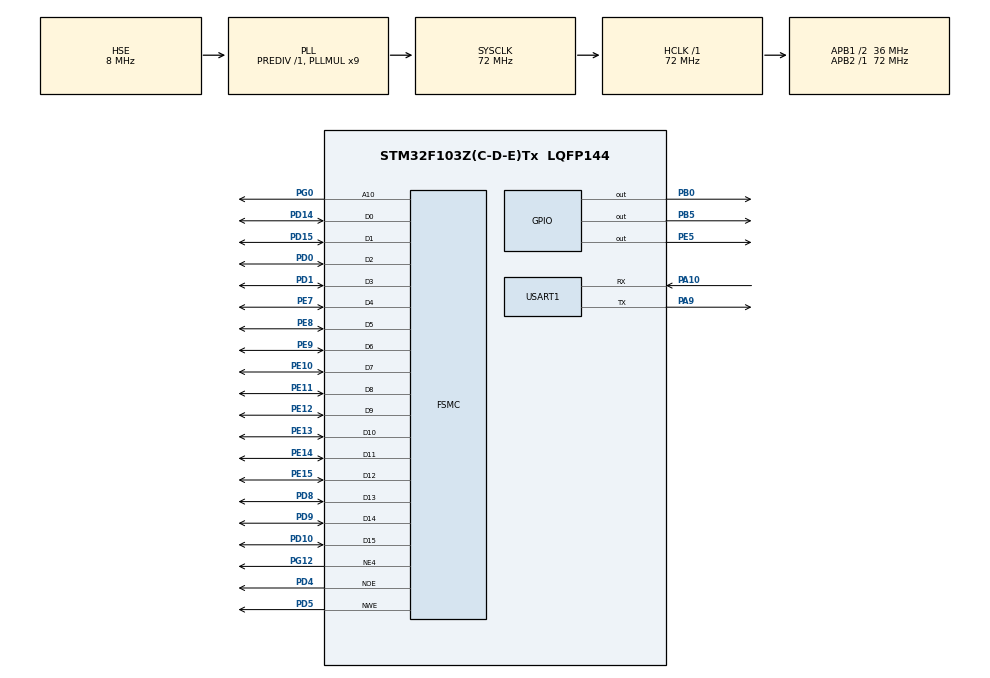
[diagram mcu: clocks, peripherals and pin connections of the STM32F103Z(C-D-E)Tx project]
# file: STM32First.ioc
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FSMC.AddressSetupTime1=0x1
FSMC.BusTurnAroundDuration1=0xf
FSMC.DataSetupTime1=0x1
FSMC.ExtendedAddressSetupTime1=0x0
FSMC.ExtendedBusTurnAroundDuration1=0
FSMC.ExtendedDataSetupTime1=0x03
FSMC.ExtendedMode1=FSMC_EXTENDED_MODE_ENABLE
FSMC.WriteOperation1=FSMC_WRITE_OPERATION_ENABLE
Mcu.Family=STM32F1
Mcu.Name=STM32F103Z(C-D-E)Tx
Mcu.Package=LQFP144
NVIC.PriorityGroup=NVIC_PRIORITYGROUP_4
OSC_IN.Mode=HSE-External-Oscillator
OSC_IN.Signal=RCC_OSC_IN
OSC_OUT.Mode=HSE-External-Oscillator
OSC_OUT.Signal=RCC_OSC_OUT
PA10.Mode=Asynchronous
PA10.Signal=USART1_RX
PA9.Mode=Asynchronous
PA9.Signal=USART1_TX
PB0.Signal=GPIO_Output
PB5.Signal=GPIO_Output
PC14-OSC32_IN.Mode=LSE-External-Oscillator
PC14-OSC32_IN.Signal=RCC_OSC32_IN
PC15-OSC32_OUT.Mode=LSE-External-Oscillator
PC15-OSC32_OUT.Signal=RCC_OSC32_OUT
PD0.Signal=FSMC_D2_DA2
PD1.Signal=FSMC_D3_DA3
PD10.Signal=FSMC_D15_DA15
PD14.Signal=FSMC_D0_DA0
PD15.Signal=FSMC_D1_DA1
PD4.Signal=FSMC_NOE
PD5.Signal=FSMC_NWE
PD8.Signal=FSMC_D13_DA13
PD9.Signal=FSMC_D14_DA14
PE10.Signal=FSMC_D7_DA7
PE11.Signal=FSMC_D8_DA8
PE12.Signal=FSMC_D9_DA9
PE13.Signal=FSMC_D10_DA10
PE14.Signal=FSMC_D11_DA11
PE15.Signal=FSMC_D12_DA12
PE5.Signal=GPIO_Output
PE7.Signal=FSMC_D4_DA4
PE8.Signal=FSMC_D5_DA5
PE9.Signal=FSMC_D6_DA6
PG0.Signal=FSMC_A10
PG12.Mode=NorPsramChipSelect4_1
PG12.Signal=FSMC_NE4
ProjectManager.HeapSize=0x200
ProjectManager.StackSize=0x400
ProjectManager.TargetToolchain=MDK-ARM V5
RCC.AHBFreq_Value=72000000
RCC.APB1CLKDivider=RCC_HCLK_DIV2
RCC.APB1Freq_Value=36000000
RCC.APB1TimFreq_Value=72000000
RCC.APB2Freq_Value=72000000
RCC.APB2TimFreq_Value=72000000
RCC.HCLKFreq_Value=72000000
RCC.PLLMUL=RCC_PLL_MUL9
RCC.PLLSourceVirtual=RCC_PLLSOURCE_HSE
RCC.SYSCLKFreq_VALUE=72000000
RCC.SYSCLKSource=RCC_SYSCLKSOURCE_PLLCLK
RCC.USBFreq_Value=72000000
SH.FSMC_A10.0=FSMC_A10,A10_1
SH.FSMC_D0_DA0.0=FSMC_D0,16b-d1
SH.FSMC_D10_DA10.0=FSMC_D10,16b-d1
SH.FSMC_D11_DA11.0=FSMC_D11,16b-d1
SH.FSMC_D12_DA12.0=FSMC_D12,16b-d1
SH.FSMC_D13_DA13.0=FSMC_D13,16b-d1
SH.FSMC_D14_DA14.0=FSMC_D14,16b-d1
SH.FSMC_D15_DA15.0=FSMC_D15,16b-d1
SH.FSMC_D1_DA1.0=FSMC_D1,16b-d1
SH.FSMC_D2_DA2.0=FSMC_D2,16b-d1
SH.FSMC_D3_DA3.0=FSMC_D3,16b-d1
SH.FSMC_D4_DA4.0=FSMC_D4,16b-d1
SH.FSMC_D5_DA5.0=FSMC_D5,16b-d1
SH.FSMC_D6_DA6.0=FSMC_D6,16b-d1
SH.FSMC_D7_DA7.0=FSMC_D7,16b-d1
SH.FSMC_D8_DA8.0=FSMC_D8,16b-d1
SH.FSMC_D9_DA9.0=FSMC_D9,16b-d1
SH.FSMC_NOE.0=FSMC_NOE,Lcd1
SH.FSMC_NWE.0=FSMC_NWE,Lcd1
USART1.VirtualMode=VM_ASYNC
VP_SYS_VS_ND.Mode=No_Debug
board=STM32First

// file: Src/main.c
/**
  ******************************************************************************
  * File Name          : main.c
  * Description        : Main program body
  ******************************************************************************
  ** This notice applies to any and all portions of this file
  * that are not between comment pairs USER CODE BEGIN and
  * USER CODE END. Other portions of this file, whether
  * inserted by the user or by software development tools
  * are owned by their respective copyright owners.
  *
  * COPYRIGHT(c) 2017 STMicroelectronics
  *
  * Redistribution and use in source and binary forms, with or without modification,
  * are permitted provided that the following conditions are met:
  *   1. Redistributions of source code must retain the above copyright notice,
  *      this list of conditions and the following disclaimer.
  *   2. Redistributions in binary form must reproduce the above copyright notice,
  *      this list of conditions and the following disclaimer in the documentation
  *      and/or other materials provided with the distribution.
  *   3. Neither the name of STMicroelectronics nor the names of its contributors
  *      may be used to endorse or promote products derived from this software
  *      without specific prior written permission.
  *
  * THIS SOFTWARE IS PROVIDED BY THE COPYRIGHT HOLDERS AND CONTRIBUTORS "AS IS"
  * AND ANY EXPRESS OR IMPLIED WARRANTIES, INCLUDING, BUT NOT LIMITED TO, THE
  * IMPLIED WARRANTIES OF MERCHANTABILITY AND FITNESS FOR A PARTICULAR PURPOSE ARE
  * DISCLAIMED. IN NO EVENT SHALL THE COPYRIGHT HOLDER OR CONTRIBUTORS BE LIABLE
  * FOR ANY DIRECT, INDIRECT, INCIDENTAL, SPECIAL, EXEMPLARY, OR CONSEQUENTIAL
  * DAMAGES (INCLUDING, BUT NOT LIMITED TO, PROCUREMENT OF SUBSTITUTE GOODS OR
  * SERVICES; LOSS OF USE, DATA, OR PROFITS; OR BUSINESS INTERRUPTION) HOWEVER
  * CAUSED AND ON ANY THEORY OF LIABILITY, WHETHER IN CONTRACT, STRICT LIABILITY,
  * OR TORT (INCLUDING NEGLIGENCE OR OTHERWISE) ARISING IN ANY WAY OUT OF THE USE
  * OF THIS SOFTWARE, EVEN IF ADVISED OF THE POSSIBILITY OF SUCH DAMAGE.
  *
  ******************************************************************************
  */
#include "main.h"
#include "stm32f1xx_hal.h"
#include "usart.h"
#include "gpio.h"
#include "fsmc.h"

/* USER CODE BEGIN Includes */
#include "lcd_tft.h"
/* USER CODE END Includes */

/* USER CODE BEGIN PV */
/* Private variables ---------------------------------------------------------*/

/* USER CODE END PV */

void SystemClock_Config(void);

/* USER CODE BEGIN PFP */
/* Private function prototypes -----------------------------------------------*/

/* USER CODE END PFP */

int main(void)
{

  /* USER CODE BEGIN 1 */
	int i=0;
  /* USER CODE END 1 */

  /* MCU Configuration----------------------------------------------------------*/

  /* Reset of all peripherals, Initializes the Flash interface and the Systick. */
  HAL_Init();

  /* Configure the system clock */
  SystemClock_Config();

  /* Initialize all configured peripherals */
  MX_GPIO_Init();
  MX_USART1_UART_Init();
  MX_FSMC_Init();

  /* Infinite loop */
  /* USER CODE BEGIN WHILE */
	HAL_GPIO_TogglePin(GPIOB,GPIO_PIN_5);
	LCD_Init();
	LCD_Clear(WHITE);

  while (1)
  {
  /* USER CODE END WHILE */

  /* USER CODE BEGIN 3 */
	POINT_COLOR=WHITE;
	LCD_Clear(WHITE);

	for(i=0;i<480/2;i++){
		LCD_Draw_Circle(480/2,800/2,i);

		if(i<10)
			POINT_COLOR=RED;

		if((i>10)&&(i<40)){
			POINT_COLOR=GRED;
		}

		if((i>40)&&(i<80)){
			POINT_COLOR=MAGENTA;
		}

		if((i>80)&&(i<160)){
			POINT_COLOR=GREEN;
		}

		if((i>160)&&(i<240)){
			POINT_COLOR=YELLOW;
		}

		HAL_Delay(30);
	}
  }
  /* USER CODE END 3 */

}

/** System Clock Configuration
*/
void SystemClock_Config(void)
{

  RCC_OscInitTypeDef RCC_OscInitStruct;
  RCC_ClkInitTypeDef RCC_ClkInitStruct;

    /**Initializes the CPU, AHB and APB busses clocks
    */
  RCC_OscInitStruct.OscillatorType = RCC_OSCILLATORTYPE_HSE;
  RCC_OscInitStruct.HSEState = RCC_HSE_ON;
  RCC_OscInitStruct.HSEPredivValue = RCC_HSE_PREDIV_DIV1;
  RCC_OscInitStruct.HSIState = RCC_HSI_ON;
  RCC_OscInitStruct.PLL.PLLState = RCC_PLL_ON;
  RCC_OscInitStruct.PLL.PLLSource = RCC_PLLSOURCE_HSE;
  RCC_OscInitStruct.PLL.PLLMUL = RCC_PLL_MUL9;
  if (HAL_RCC_OscConfig(&RCC_OscInitStruct) != HAL_OK)
  {
    _Error_Handler(__FILE__, __LINE__);
  }

    /**Initializes the CPU, AHB and APB busses clocks
    */
  RCC_ClkInitStruct.ClockType = RCC_CLOCKTYPE_HCLK|RCC_CLOCKTYPE_SYSCLK
                              |RCC_CLOCKTYPE_PCLK1|RCC_CLOCKTYPE_PCLK2;
  RCC_ClkInitStruct.SYSCLKSource = RCC_SYSCLKSOURCE_PLLCLK;
  RCC_ClkInitStruct.AHBCLKDivider = RCC_SYSCLK_DIV1;
  RCC_ClkInitStruct.APB1CLKDivider = RCC_HCLK_DIV2;
  RCC_ClkInitStruct.APB2CLKDivider = RCC_HCLK_DIV1;

  if (HAL_RCC_ClockConfig(&RCC_ClkInitStruct, FLASH_LATENCY_2) != HAL_OK)
  {
    _Error_Handler(__FILE__, __LINE__);
  }

    /**Configure the Systick interrupt time
    */
  HAL_SYSTICK_Config(HAL_RCC_GetHCLKFreq()/1000);

    /**Configure the Systick
    */
  HAL_SYSTICK_CLKSourceConfig(SYSTICK_CLKSOURCE_HCLK);

  /* SysTick_IRQn interrupt configuration */
  HAL_NVIC_SetPriority(SysTick_IRQn, 0, 0);
}

void _Error_Handler(char * file, int line)
{
  while(1)
  {
  }
}

/************************ (C) COPYRIGHT STMicroelectronics *****END OF FILE****/
